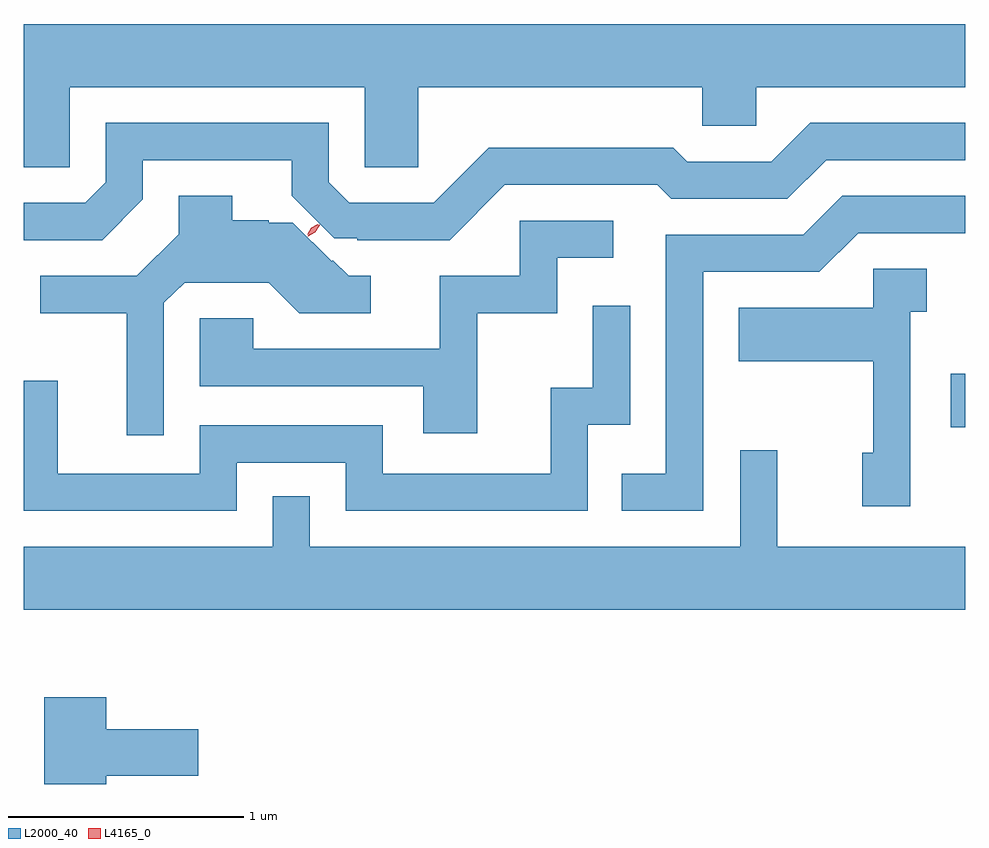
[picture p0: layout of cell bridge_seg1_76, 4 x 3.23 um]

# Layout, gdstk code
import gdstk
lib = gdstk.Library(unit=1e-6, precision=1e-09)
def R(c, l, rs):  # rectangles x0, y0, x1, y1
    for r in rs: c.add(gdstk.rectangle(r[:2], r[2:], *l))
def P(c, l, *ps):  # polygons
    for p in ps: c.add(gdstk.Polygon(p, *l))
L2000_40 = (2000, 40)
L4165_0 = (4165, 0)

bridge_seg1_76 = lib.new_cell('bridge_seg1_76')
R(bridge_seg1_76, L2000_40, [(1810.091,895.911,1810.153,896.139)])
P(bridge_seg1_76, L2000_40, [(1806.349,897.356),(1807.601,897.356),(1807.601,897.016),(1807.829,897.016),(1807.829,897.356),(1809.036,897.356),(1809.036,897.191),(1809.264,897.191),(1809.264,897.356),(1810.153,897.356),(1810.153,897.624),(1806.153,897.624),(1806.153,897.016),(1806.349,897.016)],
  [(1806.659,896.879),(1806.659,897.046),(1807.291,897.046),(1807.291,896.894),(1807.472,896.713),(1807.57,896.713),(1807.57,896.706),(1807.962,896.706),(1808.197,896.941),(1808.844,896.941),(1808.904,896.881),(1809.397,896.881),(1809.562,897.046),(1810.153,897.046),(1810.153,897.204),(1809.494,897.204),(1809.329,897.039),(1808.972,897.039),(1808.912,897.099),(1808.129,897.099),(1807.894,896.864),(1807.537,896.864),(1807.449,896.952),(1807.449,897.204),(1806.501,897.204),(1806.501,896.952),(1806.414,896.864),(1806.153,896.864),(1806.153,896.706),(1806.487,896.706)],
  [(1809.039,896.571),(1809.532,896.571),(1809.697,896.736),(1810.153,896.736),(1810.153,896.894),(1809.629,896.894),(1809.464,896.729),(1808.881,896.729),(1808.881,895.714),(1808.693,895.714),(1808.693,895.556),(1809.039,895.556)],
  [(1806.749,896.439),(1806.837,896.526),(1807.194,896.526),(1807.324,896.396),(1807.628,896.396),(1807.628,896.554),(1807.534,896.554),(1807.467,896.621),(1807.461,896.616),(1807.297,896.78),(1807.195,896.78),(1807.195,896.791),(1807.039,896.791),(1807.039,896.894),(1806.811,896.894),(1806.811,896.732),(1806.634,896.554),(1806.223,896.554),(1806.223,896.396),(1806.591,896.396),(1806.591,895.878),(1806.749,895.878)],
  [(1808.079,896.396),(1808.419,896.396),(1808.419,896.631),(1808.658,896.631),(1808.658,896.789),(1808.261,896.789),(1808.261,896.554),(1807.921,896.554),(1807.921,896.244),(1807.129,896.244),(1807.129,896.374),(1806.901,896.374),(1806.901,896.086),(1807.851,896.086),(1807.851,895.886),(1808.079,895.886)],
  [(1809.919,896.401),(1809.989,896.401),(1809.989,896.584),(1809.761,896.584),(1809.761,896.419),(1809.191,896.419),(1809.191,896.191),(1809.761,896.191),(1809.761,895.804),(1809.716,895.804),(1809.716,895.576),(1809.919,895.576)],
  [(1807.059,895.761),(1807.521,895.761),(1807.521,895.556),(1808.549,895.556),(1808.549,895.921),(1808.729,895.921),(1808.729,896.428),(1808.571,896.428),(1808.571,896.079),(1808.391,896.079),(1808.391,895.714),(1807.679,895.714),(1807.679,895.919),(1806.901,895.919),(1806.901,895.714),(1806.299,895.714),(1806.299,896.109),(1806.153,896.109),(1806.153,895.556),(1807.059,895.556)],
  [(1810.153,895.404),(1809.354,895.404),(1809.354,895.813),(1809.196,895.813),(1809.196,895.404),(1807.369,895.404),(1807.369,895.618),(1807.211,895.618),(1807.211,895.404),(1806.153,895.404),(1806.153,895.136),(1810.153,895.136)],
  [(1806.504,894.431),(1806.894,894.431),(1806.894,894.629),(1806.504,894.629),(1806.504,894.764),(1806.241,894.764),(1806.241,894.396),(1806.504,894.396)])
P(bridge_seg1_76, L4165_0, [(1807.36,896.722),(1807.36,896.722),(1807.378,896.753),(1807.409,896.771),(1807.41,896.771),(1807.41,896.77),(1807.392,896.739),(1807.361,896.722)],
  [(1807.357,896.728),(1807.357,896.729),(1807.374,896.758),(1807.403,896.774),(1807.404,896.774),(1807.404,896.773),(1807.387,896.744),(1807.358,896.728)])

lib.write_gds('bridge_seg1_76.gds')
